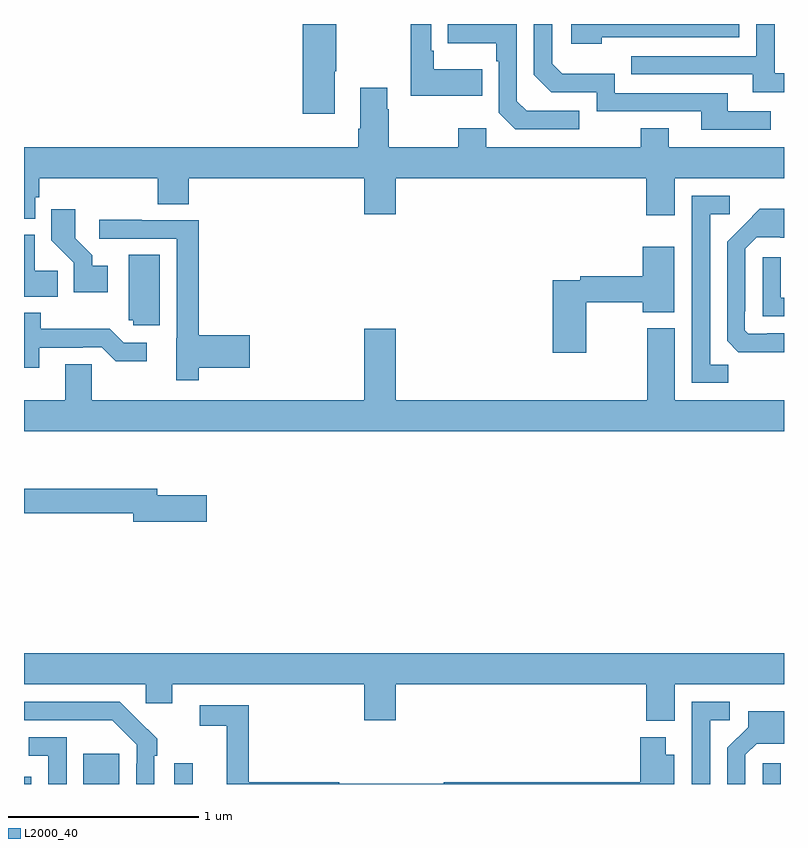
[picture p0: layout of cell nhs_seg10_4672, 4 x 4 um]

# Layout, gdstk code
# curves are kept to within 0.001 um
import gdstk
lib = gdstk.Library(unit=1e-6, precision=1e-09)
def R(c, l, rs):  # rectangles x0, y0, x1, y1
    for r in rs: c.add(gdstk.rectangle(r[:2], r[2:], *l))
def P(c, l, *ps):  # polygons
    for p in ps: c.add(gdstk.Polygon(p, *l))
L2000_40 = (2000, 40)

nhs_seg10_4672 = lib.new_cell('nhs_seg10_4672')
R(nhs_seg10_4672, L2000_40, [(379,1258.5,379.038,1258.537), (379.313,1258.5,379.501,1258.66), (379.791,1258.5,379.887,1258.609), (382.887,1258.5,382.983,1258.609)])
P(nhs_seg10_4672, L2000_40, [(381.413,1262.263),(381.157,1262.263),(381.157,1262.359),(381.144,1262.359),(381.144,1262.5),(381.036,1262.5),(381.036,1262.123),(381.413,1262.123)],
  [(382.93,1262.04),(382.705,1262.04),(382.705,1262.136),(382.11,1262.136),(382.11,1262.239),(381.833,1262.239),(381.78,1262.292),(381.78,1262.5),(381.684,1262.5),(381.684,1262.232),(381.774,1262.142),(382.014,1262.142),(382.014,1262.04),(382.565,1262.04),(382.565,1261.944),(382.93,1261.944)],
  [(381.922,1262.043),(381.645,1262.043),(381.594,1262.094),(381.594,1262.5),(381.229,1262.5),(381.229,1262.399),(381.486,1262.399),(381.486,1262.303),(381.498,1262.303),(381.498,1262.034),(381.585,1261.947),(381.922,1261.947)],
  [(383,1262.241),(382.95,1262.241),(382.95,1262.5),(382.854,1262.5),(382.854,1262.331),(382.195,1262.331),(382.195,1262.235),(382.835,1262.235),(382.835,1262.141),(383,1262.141)],
  [(382.04,1262.43),(382.764,1262.43),(382.764,1262.5),(381.879,1262.5),(381.879,1262.396),(382.04,1262.396)],
  [(380.635,1262.251),(380.643,1262.251),(380.643,1262.5),(380.468,1262.5),(380.468,1262.028),(380.635,1262.028)],
  [(379.059,1261.587),(379.079,1261.587),(379.079,1261.688),(379.703,1261.688),(379.703,1261.552),(379.868,1261.552),(379.868,1261.688),(380.792,1261.688),(380.792,1261.5),(380.956,1261.5),(380.956,1261.688),(382.274,1261.688),(382.274,1261.494),(382.426,1261.494),(382.426,1261.688),(383,1261.688),(383,1261.852),(382.393,1261.852),(382.393,1261.951),(382.246,1261.951),(382.246,1261.852),(381.432,1261.852),(381.432,1261.951),(381.286,1261.951),(381.286,1261.852),(380.919,1261.852),(380.919,1262.051),(380.911,1262.051),(380.911,1262.164),(380.771,1262.164),(380.771,1261.948),(380.759,1261.948),(380.759,1261.852),(379,1261.852),(379,1261.475),(379.059,1261.475)],
  [(382.707,1260.707),(382.611,1260.707),(382.611,1261.5),(382.714,1261.5),(382.714,1261.596),(382.515,1261.596),(382.515,1260.612),(382.707,1260.612)],
  [(383,1260.873),(382.912,1260.873),(382.912,1260.87),(382.812,1260.87),(382.794,1260.888),(382.794,1260.988),(382.797,1260.988),(382.797,1261.317),(382.857,1261.377),(383,1261.376),(383,1261.528),(382.873,1261.528),(382.701,1261.354),(382.701,1260.832),(382.76,1260.773),(383,1260.772)],
  [(379.441,1261.228),(379.36,1261.228),(379.36,1261.283),(379.27,1261.373),(379.27,1261.525),(379.144,1261.525),(379.144,1261.362),(379.263,1261.243),(379.263,1261.088),(379.441,1261.088)],
  [(379.919,1260.692),(380.188,1260.692),(380.188,1260.863),(379.919,1260.863),(379.919,1261.467),(379.619,1261.467),(379.619,1261.47),(379.395,1261.47),(379.395,1261.371),(379.803,1261.371),(379.803,1260.846),(379.802,1260.846),(379.802,1260.624),(379.919,1260.624)],
  [(379.178,1261.202),(379.057,1261.202),(379.057,1261.39),(379,1261.39),(379,1261.064),(379.178,1261.064)],
  [(381.96,1261.036),(382.256,1261.036),(382.256,1260.983),(382.423,1260.983),(382.423,1261.327),(382.256,1261.327),(382.256,1261.172),(381.928,1261.172),(381.928,1261.152),(381.782,1261.152),(381.782,1260.771),(381.96,1260.771)],
  [(379.714,1261.286),(379.55,1261.286),(379.55,1260.942),(379.575,1260.942),(379.575,1260.915),(379.714,1260.915)],
  [(383,1261.059),(382.983,1261.059),(382.983,1261.273),(382.887,1261.273),(382.887,1260.963),(383,1260.963)],
  [(379.081,1260.795),(379.31,1260.795),(379.31,1260.798),(379.41,1260.798),(379.483,1260.725),(379.645,1260.725),(379.645,1260.822),(379.524,1260.822),(379.451,1260.895),(379.089,1260.895),(379.089,1260.979),(379,1260.979),(379,1260.69),(379.081,1260.69)],
  [(383,1260.52),(382.426,1260.52),(382.426,1260.898),(382.279,1260.898),(382.279,1260.52),(380.956,1260.52),(380.956,1260.895),(380.792,1260.895),(380.792,1260.52),(379.356,1260.52),(379.356,1260.71),(379.217,1260.71),(379.217,1260.52),(379,1260.52),(379,1260.356),(383,1260.356)],
  [(379.963,1260.021),(379.702,1260.021),(379.702,1260.055),(379,1260.055),(379,1259.926),(379.574,1259.926),(379.574,1259.879),(379.963,1259.879)],
  [(382.426,1259.024),(383,1259.024),(383,1259.188),(379,1259.188),(379,1259.024),(379.641,1259.024),(379.641,1258.926),(379.78,1258.926),(379.78,1259.024),(380.792,1259.024),(380.792,1258.836),(380.956,1258.836),(380.956,1259.024),(382.274,1259.024),(382.274,1258.832),(382.426,1258.832)],
  [(379.686,1258.649),(379.701,1258.649),(379.701,1258.737),(379.504,1258.932),(379,1258.932),(379,1258.836),(379.465,1258.836),(379.593,1258.707),(379.593,1258.607),(379.59,1258.607),(379.59,1258.5),(379.686,1258.5)],
  [(382.611,1258.836),(382.714,1258.836),(382.714,1258.932),(382.515,1258.932),(382.515,1258.5),(382.611,1258.5)],
  [(382.423,1258.654),(382.378,1258.654),(382.378,1258.747),(382.244,1258.747),(382.244,1258.508),(381.21,1258.508),(381.21,1258.501),(380.66,1258.501),(380.66,1258.508),(380.183,1258.508),(380.183,1258.914),(379.926,1258.914),(379.926,1258.806),(380.066,1258.806),(380.066,1258.5),(382.423,1258.5)],
  [(382.797,1258.653),(382.857,1258.713),(382.98,1258.713),(382.98,1258.712),(383,1258.712),(383,1258.882),(382.811,1258.882),(382.811,1258.8),(382.701,1258.69),(382.701,1258.5),(382.797,1258.5)],
  [(379.224,1258.746),(379.026,1258.746),(379.026,1258.65),(379.128,1258.65),(379.128,1258.5),(379.224,1258.5)])

lib.write_gds('nhs_seg10_4672.gds')
